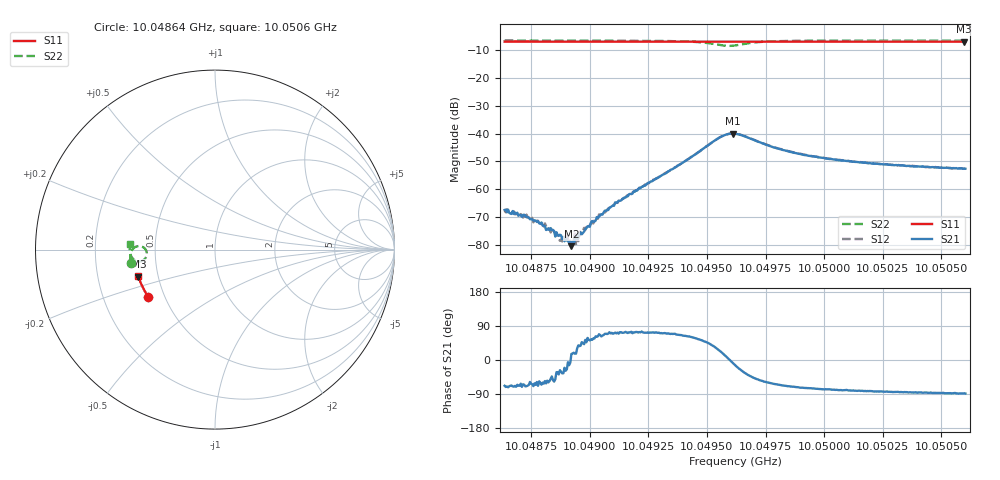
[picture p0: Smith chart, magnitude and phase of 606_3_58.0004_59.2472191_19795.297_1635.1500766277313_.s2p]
#  HZ  S  RI  R  50.00
! Rohde & Schwarz Vector Network Analyzer
! Rohde-Schwarz,ZNB20-2Port,1311601062101988,3.16
! Created: UTC 3/21/2024, 1:17:26 AM
! freq[Hz]  re:S11  im:S11  re:S21  im:S21  re:S12  im:S12  re:S22  im:S22
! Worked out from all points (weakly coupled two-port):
!   401 points, 10.04864 GHz to 10.0506 GHz, reference 50 ohm
!   highest |S21| = -39.97 dB at 10.04961 GHz (marker M1); lowest = -80.6 dB at 10.04892 GHz (marker M2)
!   lowest |S11| = -6.9 dB at 10.0506 GHz (marker M3), VSWR 2.65, Z = 19.3 - j7.28 ohm
!   |S11| at or under -10 dB: nowhere
!   |S22| runs from -8.4 to -6.4 dB; largest |S21 - S12| = 0.00074
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1.0048637e10  -0.3707 -0.2649  0.000157 -0.00039  0.000176 -0.000382  -0.4706 -0.0759
1.0048725e10  -0.374 -0.2602  0.000115 -0.00031  0.000141 -0.000263  -0.4713 -0.0694
1.0048774e10  -0.3757 -0.2575  0.000136 -0.000217  0.000149 -0.000227  -0.4717 -0.0657
1.0048804e10  -0.3768 -0.2557  0.0001 -0.000194  0.00014 -0.000158  -0.4719 -0.0634
1.0048824e10  -0.3775 -0.2548  0.000101 -0.000168  0.000137 -0.000137  -0.4719 -0.0617
1.0048848e10  -0.3784 -0.2534  9.58e-05 -0.000147  0.000124 -0.000114  -0.4721 -0.0598
1.0048873e10  -0.3793 -0.2519  0.000134 -6.83e-05  0.000107 -4.85e-05  -0.4721 -0.0578
1.0048897e10  -0.38 -0.2504  0.000116 -6.26e-05  0.000125 -2.23e-05  -0.4722 -0.0557
1.0048922e10  -0.3811 -0.2493  9.01e-05 2.57e-05  0.000114 3.89e-05  -0.4724 -0.0538
1.0048951e10  -0.382 -0.2475  0.000101 8.09e-05  9.23e-05 6.91e-05  -0.4723 -0.0512
1.0048966e10  -0.3825 -0.2467  0.000105 0.000112  9.71e-05 0.000123  -0.4724 -0.05
1.004905e10  -0.3853 -0.2419  0.000165 0.000313  0.000138 0.000338  -0.4724 -0.0423
1.0049119e10  -0.3876 -0.238  0.000175 0.000551  0.00013 0.00055  -0.472 -0.0357
1.0049295e10  -0.3933 -0.2277  0.000496 0.00157  0.000415 0.00161  -0.4678 -0.0149
1.0049551e10  -0.4003 -0.2126  0.00753 0.00367  0.00723 0.00414  -0.3982 0.0122
1.004961e10  -0.4017 -0.2097  0.00994 -0.00134  0.01 -0.000625  -0.3815 -0.0355
1.004962e10  -0.402 -0.2092  0.00969 -0.00235  0.00985 -0.00163  -0.3852 -0.0441
1.0049792e10  -0.4074 -0.1993  0.00246 -0.00497  0.00281 -0.00485  -0.4591 -0.0491
1.0049949e10  -0.4117 -0.1898  0.00101 -0.00379  0.00125 -0.00372  -0.4713 -0.0249
1.0050278e10  -0.42 -0.1697  0.000296 -0.00272  0.000438 -0.00272  -0.4753 0.0077
1.0050598e10  -0.4268 -0.1499  8.63e-05 -0.00233  0.000217 -0.00235  -0.4746 0.0326
1.0050603e10  -0.4269 -0.1497  6.07e-05 -0.00233  0.000207 -0.00235  -0.4747 0.0328
